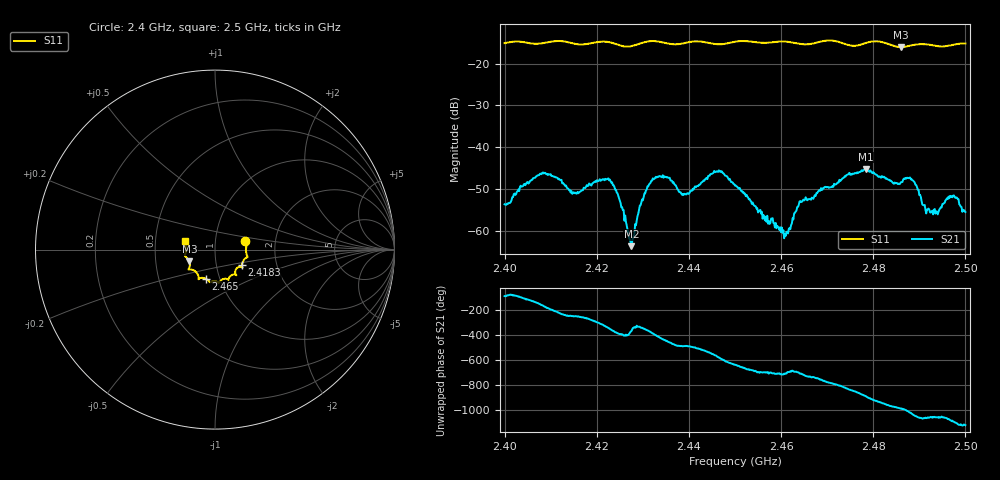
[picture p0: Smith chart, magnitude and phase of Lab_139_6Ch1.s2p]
# Hz S RI R 50
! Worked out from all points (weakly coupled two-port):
!   601 points, 2.4 GHz to 2.5 GHz, reference 50 ohm
!   highest |S21| = -45.23 dB at 2.4783 GHz (marker M1); lowest = -63.8 dB at 2.4275 GHz (marker M2)
!   lowest |S11| = -16.1 dB at 2.486 GHz (marker M3), VSWR 1.37, Z = 37.2 - j4.98 ohm
!   |S11| at or under -10 dB: start of sweep to end of sweep
!   S12 and S22 are empty: the file has one direction only
!   S11 on the Smith chart (normalised r, x): 2.4 GHz: 1.40, +0.13; 2.4183 GHz: 1.33, -0.24; 2.465 GHz: 0.86, -0.29; 2.5 GHz: 0.71, +0.07
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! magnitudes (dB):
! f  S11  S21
! 2.4 GHz  -15.1  -53.7
! 2.4082 GHz  -15.1  -46.2
! 2.4167 GHz  -15.4  -50.5
! 2.4183 GHz  -15.2  -48.7
! 2.4233 GHz  -15.0  -48.5
! 2.4275 GHz  -15.8  -63.8
! 2.4308 GHz  -14.8  -50.2
! 2.4333 GHz  -14.7  -47.2
! 2.439 GHz  -15.1  -51.2
! 2.446 GHz  -15.4  -45.8
! 2.45 GHz  -14.8  -49.2
! 2.4608 GHz  -14.7  -60.9
! 2.465 GHz  -15.4  -52.8
! 2.4667 GHz  -15.3  -52.1
! 2.4783 GHz  -15.1  -45.2
! 2.4833 GHz  -15.3  -47.9
! 2.486 GHz  -16.1  -48.4
! 2.4885 GHz  -15.6  -48.0
! 2.492 GHz  -15.5  -54.7
! 2.494 GHz  -15.8  -56.1
! 2.4972 GHz  -15.5  -52.0
! 2.5 GHz  -15.2  -55.6
